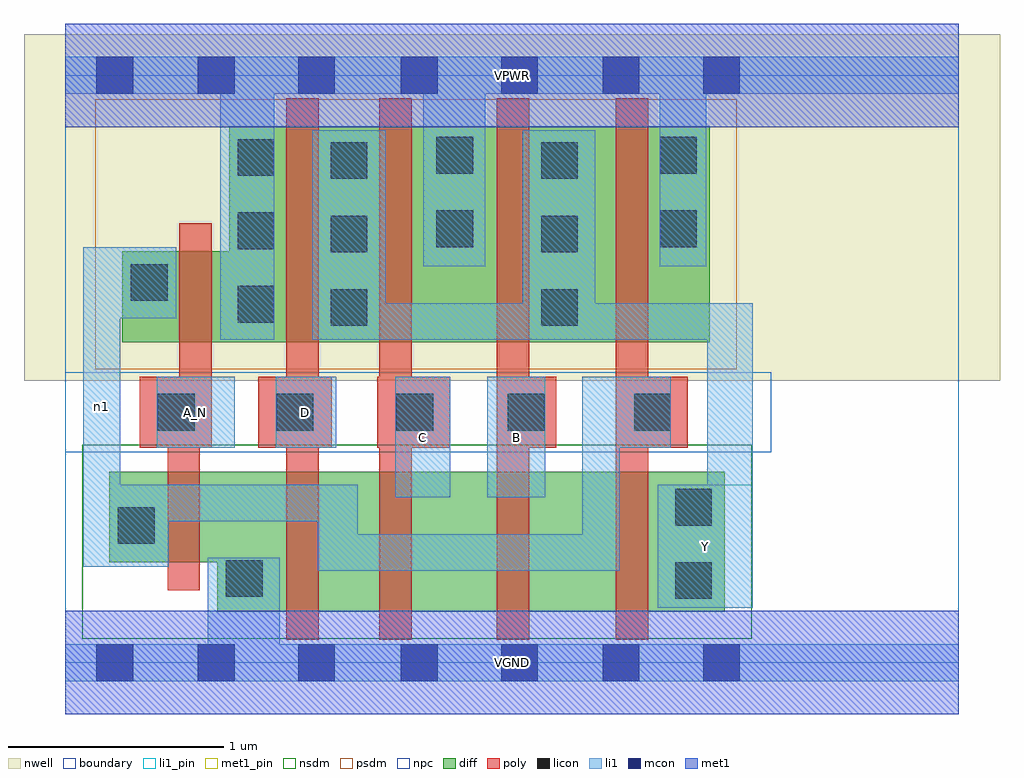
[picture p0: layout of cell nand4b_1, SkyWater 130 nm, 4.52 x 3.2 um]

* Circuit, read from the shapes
.subckt nand4b_1 A_N B C D VGND VPWR Y n1
XM1 VGND A_N n1 VSUBS sky130_fd_pr__nfet_01v8 w=0.42 l=0.15
XM2 n2 D VGND VSUBS sky130_fd_pr__nfet_01v8 w=0.65 l=0.15
XM3 n3 C n2 VSUBS sky130_fd_pr__nfet_01v8 w=0.65 l=0.15
XM4 n4 B n3 VSUBS sky130_fd_pr__nfet_01v8 w=0.65 l=0.15
XM5 Y n1 n4 VSUBS sky130_fd_pr__nfet_01v8 w=0.65 l=0.15
XM6 VPWR A_N n1 n5 sky130_fd_pr__pfet_01v8 w=0.42 l=0.15
XM7 Y D VPWR n5 sky130_fd_pr__pfet_01v8 w=1 l=0.15
XM8 VPWR C Y n5 sky130_fd_pr__pfet_01v8 w=1 l=0.15
XM9 Y B VPWR n5 sky130_fd_pr__pfet_01v8 w=1 l=0.15
XM10 VPWR n1 Y n5 sky130_fd_pr__pfet_01v8 w=1 l=0.15
.ends

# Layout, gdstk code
import gdstk
lib = gdstk.Library(unit=1e-6, precision=1e-09)
def R(c, l, rs):  # rectangles x0, y0, x1, y1
    for r in rs: c.add(gdstk.rectangle(r[:2], r[2:], *l))
def A(c, l, x, y, w, h, nx, ny, dx, dy):  # array of equal rectangles
    R(c, l, [(x+i*dx, y+j*dy, x+i*dx+w, y+j*dy+h) for i in range(nx) for j in range(ny)])
nwell = (64, 20)
diff = (65, 20)
poly = (66, 20)
licon = (66, 44)
li1_pin = (67, 16)
li1 = (67, 20)
mcon = (67, 44)
met1_pin = (68, 16)
met1 = (68, 20)
nsdm = (93, 44)
psdm = (94, 20)
npc = (95, 20)
boundary = (235, 4)

nand4b_1 = lib.new_cell('nand4b_1')
R(nand4b_1, nwell, [(-0.19,1.305,4.33,2.91), (0,1.305,4.14,2.91)])
R(nand4b_1, diff, [(0.705,0.235,3.055,0.885), (0.205,0.465,3.055,0.885), (0.265,1.485,2.985,1.905), (0.76,1.485,2.985,2.485)])
R(nand4b_1, poly, [(1.025,0.105,1.175,2.615), (1.455,0.105,1.605,2.615), (2,0.105,2.15,2.615), (2.55,0.105,2.7,2.615), (0.475,0.335,0.625,1.325), (0.345,0.995,0.68,1.325), (0.53,0.995,0.68,2.035), (0.895,0.995,1.235,1.325), (1.445,0.995,1.785,1.325), (2,0.995,2.275,1.325), (2.55,0.995,2.885,1.325)])
A(nand4b_1, licon, 1.23, 1.56, 0.17, 0.17, 1, 3, 0, 0.34)
A(nand4b_1, licon, 2.205, 1.56, 0.17, 0.17, 1, 3, 0, 0.34)
A(nand4b_1, licon, 0.8, 1.575, 0.17, 0.17, 1, 3, 0, 0.34)
R(nand4b_1, licon, [(2.825,0.295,2.995,0.465), (0.745,0.305,0.915,0.475), (0.245,0.55,0.415,0.72), (2.825,0.635,2.995,0.805), (0.43,1.075,0.6,1.245), (0.98,1.075,1.15,1.245), (1.535,1.075,1.705,1.245), (2.05,1.075,2.22,1.245), (2.635,1.075,2.805,1.245), (0.305,1.675,0.475,1.845), (1.72,1.925,1.89,2.095), (2.755,1.925,2.925,2.095), (1.72,2.265,1.89,2.435), (2.755,2.265,2.925,2.435)])
R(nand4b_1, li1_pin, [(2.745,0.255,3.185,0.825), (1.53,0.765,1.785,1.325), (1.955,0.765,2.225,1.325), (0.425,0.995,0.785,1.325), (0.975,0.995,1.255,1.325)])
R(nand4b_1, li1, [(0,-0.085,4.14,0.085), (0.66,-0.085,0.995,0.485), (2.745,0.255,3.185,0.825), (2.975,0.255,3.185,1.665), (1.17,0.425,2.57,0.595), (1.17,0.425,1.355,0.825), (2.395,0.425,2.57,1.325), (0.085,0.445,0.255,1.925), (0.085,0.445,0.48,0.825), (0.085,0.655,1.355,0.825), (1.53,0.765,1.785,1.325), (1.955,0.765,2.225,1.325), (0.425,0.995,0.785,1.325), (0.975,0.995,1.255,1.325), (2.395,0.995,2.805,1.325), (0.72,1.495,0.97,2.805), (1.145,1.495,3.185,1.665), (1.145,1.495,1.485,2.465), (2.12,1.495,2.455,2.465), (0.085,1.595,0.515,1.925), (1.66,1.835,1.945,2.805), (2.755,1.835,2.97,2.805), (0,2.635,4.14,2.805)])
R(nand4b_1, mcon, [(0.145,-0.085,0.315,0.085), (0.615,-0.085,0.785,0.085), (1.08,-0.085,1.25,0.085), (1.555,-0.085,1.725,0.085), (2.02,-0.085,2.19,0.085), (2.49,-0.085,2.66,0.085), (2.955,-0.085,3.125,0.085), (0.145,2.635,0.315,2.805), (0.615,2.635,0.785,2.805), (1.08,2.635,1.25,2.805), (1.555,2.635,1.725,2.805), (2.02,2.635,2.19,2.805), (2.49,2.635,2.66,2.805), (2.955,2.635,3.125,2.805)])
R(nand4b_1, met1_pin, [(0,-0.24,4.14,0.24), (0,2.48,4.14,2.96)])
R(nand4b_1, met1, [(0,-0.24,4.14,0.24), (0,2.48,4.14,2.96)])
R(nand4b_1, nsdm, [(0.08,0.11,3.18,1.01)])
R(nand4b_1, psdm, [(0.14,1.36,3.11,2.61)])
R(nand4b_1, npc, [(0,0.975,3.27,1.345)])
R(nand4b_1, boundary, [(0,0,4.14,2.72)])
nand4b_1.add(gdstk.Label('A_N', (0.605,1.16), layer=67, texttype=5))
nand4b_1.add(gdstk.Label('B', (2.09,1.045), layer=67, texttype=5))
nand4b_1.add(gdstk.Label('C', (1.657,1.045), layer=67, texttype=5))
nand4b_1.add(gdstk.Label('D', (1.115,1.16), layer=67, texttype=5))
nand4b_1.add(gdstk.Label('Y', (2.965,0.54), layer=67, texttype=5))
nand4b_1.add(gdstk.Label('n1', (0.17,1.185), layer=67, texttype=5))
nand4b_1.add(gdstk.Label('VPWR', (2.07,2.72), layer=68, texttype=5))
nand4b_1.add(gdstk.Label('VGND', (2.07,0), layer=68, texttype=5))
nand4b_1.add(gdstk.Label('A_N', (0.605,1.16), layer=67, texttype=16))
nand4b_1.add(gdstk.Label('B', (2.09,1.045), layer=67, texttype=16))
nand4b_1.add(gdstk.Label('C', (1.657,1.045), layer=67, texttype=16))
nand4b_1.add(gdstk.Label('D', (1.115,1.16), layer=67, texttype=16))
nand4b_1.add(gdstk.Label('Y', (2.965,0.54), layer=67, texttype=16))
nand4b_1.add(gdstk.Label('VPWR', (2.07,2.72), layer=68, texttype=16))
nand4b_1.add(gdstk.Label('VGND', (2.07,0), layer=68, texttype=16))

lib.write_gds('nand4b_1.gds')
